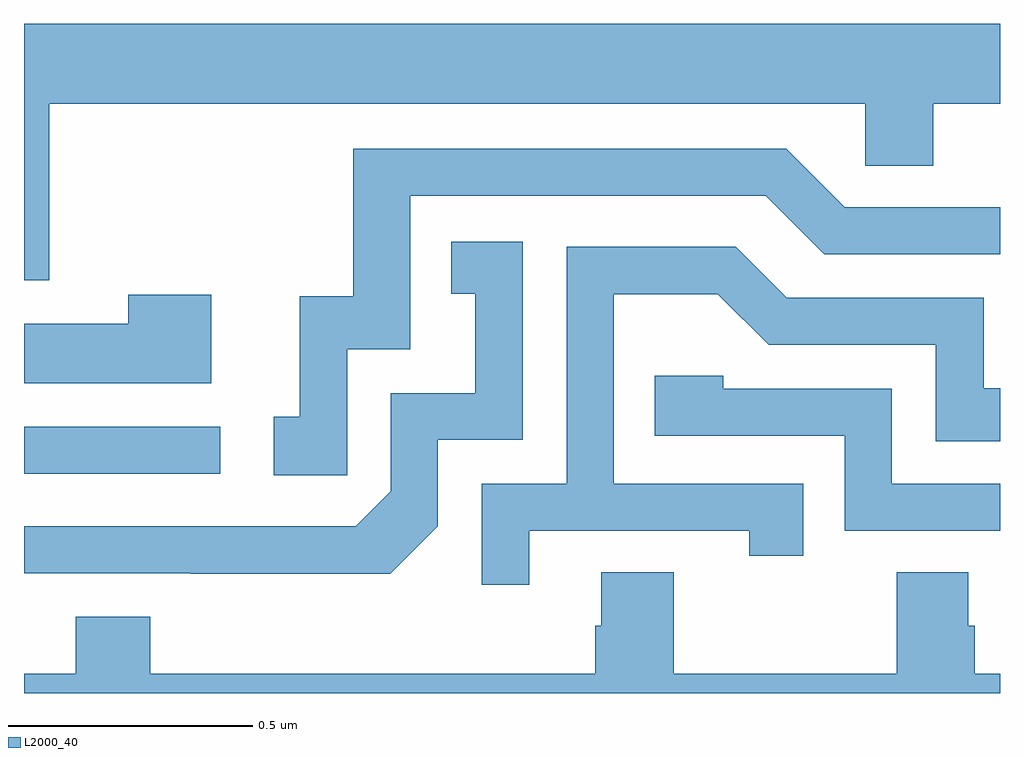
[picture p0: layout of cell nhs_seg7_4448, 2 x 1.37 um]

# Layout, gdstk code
import gdstk
lib = gdstk.Library(unit=1e-6, precision=1e-09)
def R(c, l, rs):  # rectangles x0, y0, x1, y1
    for r in rs: c.add(gdstk.rectangle(r[:2], r[2:], *l))
def P(c, l, *ps):  # polygons
    for p in ps: c.add(gdstk.Polygon(p, *l))
L2000_40 = (2000, 40)

nhs_seg7_4448 = lib.new_cell('nhs_seg7_4448')
R(nhs_seg7_4448, L2000_40, [(172,1074.45,172.402,1074.546)])
P(nhs_seg7_4448, L2000_40, [(172.052,1075.208),(173.724,1075.208),(173.724,1075.081),(173.863,1075.081),(173.863,1075.208),(174,1075.208),(174,1075.372),(172,1075.372),(172,1074.846),(172.052,1074.846)],
  [(172.662,1074.705),(172.791,1074.705),(172.791,1075.02),(173.52,1075.02),(173.64,1074.9),(174,1074.9),(174,1074.996),(173.682,1074.996),(173.562,1075.116),(172.675,1075.116),(172.675,1074.814),(172.565,1074.814),(172.565,1074.567),(172.512,1074.567),(172.512,1074.447),(172.662,1074.447)],
  [(172.848,1074.342),(172.848,1074.519),(173.022,1074.519),(173.022,1074.925),(172.876,1074.925),(172.876,1074.819),(172.925,1074.819),(172.925,1074.615),(172.752,1074.615),(172.752,1074.414),(172.68,1074.342),(172,1074.342),(172,1074.246),(172.342,1074.246),(172.342,1074.245),(172.75,1074.245)],
  [(173.035,1074.333),(173.486,1074.333),(173.486,1074.282),(173.597,1074.282),(173.597,1074.429),(173.208,1074.429),(173.208,1074.818),(173.422,1074.818),(173.526,1074.714),(173.868,1074.714),(173.868,1074.516),(174,1074.516),(174,1074.625),(173.967,1074.625),(173.967,1074.81),(173.563,1074.81),(173.458,1074.915),(173.112,1074.915),(173.112,1074.429),(172.938,1074.429),(172.938,1074.222),(173.035,1074.222)],
  [(172.384,1074.817),(172.214,1074.817),(172.214,1074.757),(172,1074.757),(172,1074.635),(172.384,1074.635)],
  [(174,1074.429),(173.778,1074.429),(173.778,1074.624),(173.433,1074.624),(173.433,1074.651),(173.293,1074.651),(173.293,1074.528),(173.682,1074.528),(173.682,1074.333),(174,1074.333)],
  [(174,1074.04),(173.948,1074.04),(173.948,1074.138),(173.935,1074.138),(173.935,1074.248),(173.788,1074.248),(173.788,1074.04),(173.331,1074.04),(173.331,1074.248),(173.183,1074.248),(173.183,1074.138),(173.171,1074.138),(173.171,1074.04),(172.259,1074.04),(172.259,1074.157),(172.106,1074.157),(172.106,1074.04),(172,1074.04),(172,1074),(174,1074)])

lib.write_gds('nhs_seg7_4448.gds')
